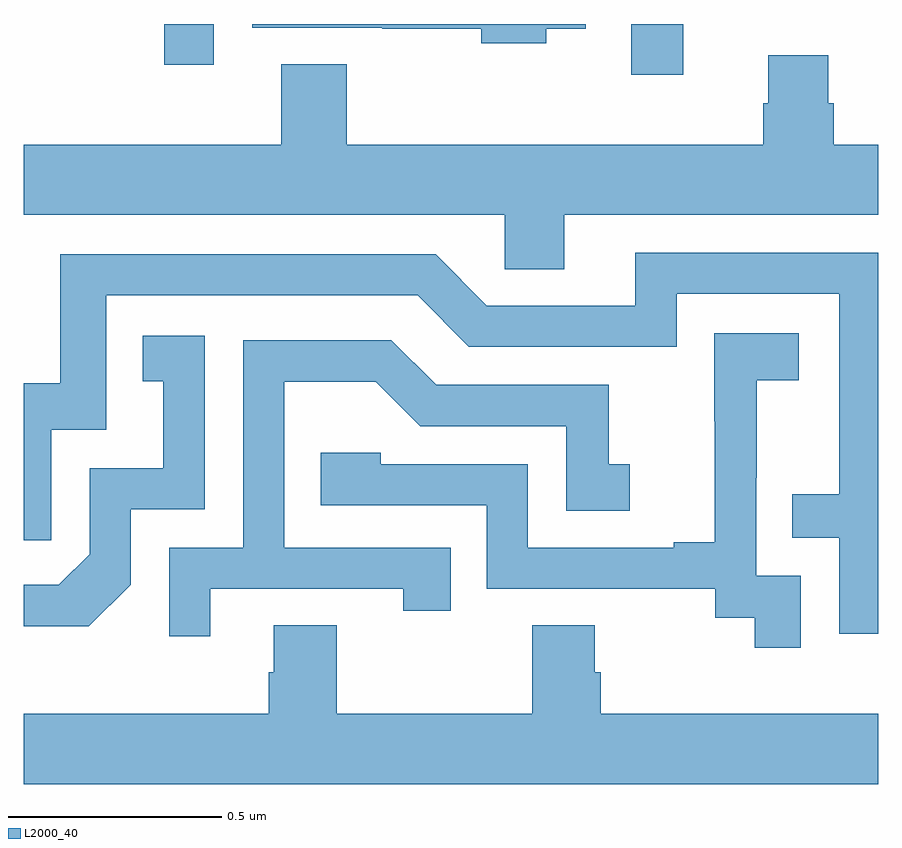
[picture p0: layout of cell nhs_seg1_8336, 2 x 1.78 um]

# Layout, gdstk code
import gdstk
lib = gdstk.Library(unit=1e-6, precision=1e-09)
def R(c, l, rs):  # rectangles x0, y0, x1, y1
    for r in rs: c.add(gdstk.rectangle(r[:2], r[2:], *l))
def P(c, l, *ps):  # polygons
    for p in ps: c.add(gdstk.Polygon(p, *l))
L2000_40 = (2000, 40)

nhs_seg1_8336 = lib.new_cell('nhs_seg1_8336')
R(nhs_seg1_8336, L2000_40, [(216.422,532.08,216.544,532.199), (215.329,532.104,215.445,532.199)])
P(nhs_seg1_8336, L2000_40, [(216.223,532.188),(216.315,532.188),(216.315,532.199),(215.535,532.199),(215.535,532.19),(215.839,532.19),(215.839,532.188),(216.071,532.188),(216.071,532.154),(216.223,532.154)],
  [(216.265,531.752),(217,531.752),(217,531.916),(216.896,531.916),(216.896,532.014),(216.883,532.014),(216.883,532.126),(216.743,532.126),(216.743,532.014),(216.731,532.014),(216.731,531.916),(215.756,531.916),(215.756,532.105),(215.603,532.105),(215.603,531.916),(215,531.916),(215,531.752),(216.126,531.752),(216.126,531.625),(216.265,531.625)],
  [(217,531.663),(216.431,531.663),(216.431,531.54),(216.084,531.54),(215.964,531.66),(215.085,531.66),(215.085,531.358),(215,531.358),(215,530.991),(215.064,530.991),(215.064,531.249),(215.193,531.249),(215.193,531.564),(215.922,531.564),(216.042,531.444),(216.528,531.444),(216.528,531.567),(216.909,531.567),(216.909,531.098),(216.799,531.098),(216.799,530.997),(216.909,530.997),(216.909,530.772),(217,530.772)],
  [(216.819,530.907),(216.714,530.907),(216.714,531.137),(216.716,531.137),(216.716,531.365),(216.814,531.365),(216.814,531.475),(216.616,531.475),(216.616,531.269),(216.617,531.269),(216.617,530.986),(216.521,530.986),(216.521,530.973),(216.18,530.973),(216.18,531.168),(215.835,531.168),(215.835,531.195),(215.695,531.195),(215.695,531.072),(216.084,531.072),(216.084,530.877),(216.618,530.877),(216.618,530.809),(216.711,530.809),(216.711,530.739),(216.819,530.739)],
  [(215.25,530.886),(215.25,531.063),(215.424,531.063),(215.424,531.469),(215.278,531.469),(215.278,531.363),(215.327,531.363),(215.327,531.159),(215.154,531.159),(215.154,530.958),(215.082,530.886),(215,530.886),(215,530.789),(215.152,530.789)],
  [(215.437,530.877),(215.888,530.877),(215.888,530.826),(215.999,530.826),(215.999,530.973),(215.61,530.973),(215.61,531.362),(215.824,531.362),(215.928,531.258),(216.27,531.258),(216.27,531.06),(216.418,531.06),(216.418,531.169),(216.369,531.169),(216.369,531.354),(215.965,531.354),(215.86,531.459),(215.514,531.459),(215.514,530.973),(215.34,530.973),(215.34,530.766),(215.437,530.766)],
  [(217,530.584),(216.35,530.584),(216.35,530.682),(216.337,530.682),(216.337,530.792),(216.19,530.792),(216.19,530.584),(215.733,530.584),(215.733,530.792),(215.585,530.792),(215.585,530.682),(215.573,530.682),(215.573,530.584),(215,530.584),(215,530.42),(217,530.42)])

lib.write_gds('nhs_seg1_8336.gds')
